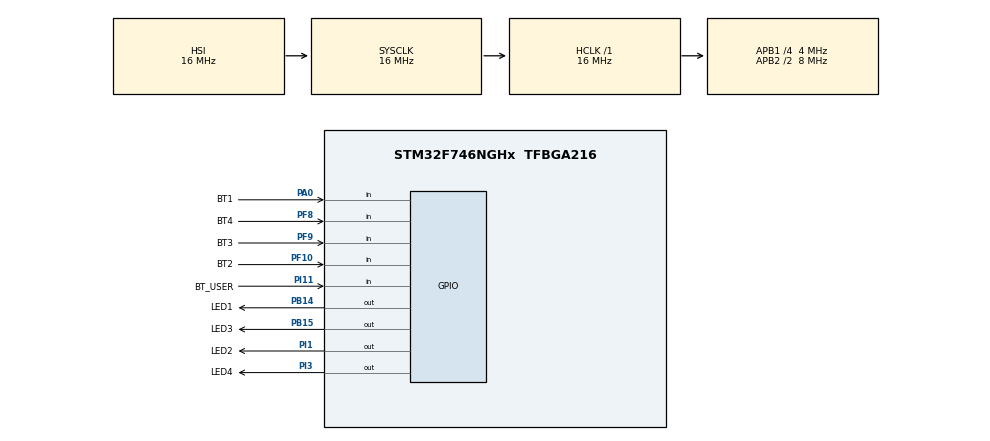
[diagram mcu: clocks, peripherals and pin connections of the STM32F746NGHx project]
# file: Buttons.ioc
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Mcu.Family=STM32F7
Mcu.Name=STM32F746NGHx
Mcu.Package=TFBGA216
NVIC.PriorityGroup=NVIC_PRIORITYGROUP_4
PA0/WKUP.GPIO_Label=BT1
PA0/WKUP.GPIO_PuPd=GPIO_PULLUP
PA0/WKUP.Signal=GPIO_Input
PB14.GPIO_Label=LED1
PB14.PinState=GPIO_PIN_SET
PB14.Signal=GPIO_Output
PB15.GPIO_Label=LED3
PB15.PinState=GPIO_PIN_SET
PB15.Signal=GPIO_Output
PF10.GPIO_Label=BT2
PF10.GPIO_PuPd=GPIO_PULLUP
PF10.Signal=GPIO_Input
PF8.GPIO_Label=BT4
PF8.GPIO_PuPd=GPIO_PULLUP
PF8.Signal=GPIO_Input
PF9.GPIO_Label=BT3
PF9.GPIO_PuPd=GPIO_PULLUP
PF9.Signal=GPIO_Input
PH0/OSC_IN.Mode=HSE-External-Oscillator
PH0/OSC_IN.Signal=RCC_OSC_IN
PH1/OSC_OUT.Mode=HSE-External-Oscillator
PH1/OSC_OUT.Signal=RCC_OSC_OUT
PI1.GPIO_Label=LED2
PI1.PinState=GPIO_PIN_SET
PI1.Signal=GPIO_Output
PI11.GPIO_Label=BT_USER
PI11.Signal=GPIO_Input
PI3.GPIO_Label=LED4
PI3.PinState=GPIO_PIN_SET
PI3.Signal=GPIO_Output
ProjectManager.HeapSize=0x200
ProjectManager.StackSize=0x400
ProjectManager.TargetToolchain=STM32CubeIDE
RCC.AHBFreq_Value=16000000
RCC.APB1CLKDivider=RCC_HCLK_DIV4
RCC.APB1Freq_Value=4000000
RCC.APB1TimFreq_Value=8000000
RCC.APB2CLKDivider=RCC_HCLK_DIV2
RCC.APB2Freq_Value=8000000
RCC.APB2TimFreq_Value=16000000
RCC.CortexFreq_Value=16000000
RCC.HCLKFreq_Value=16000000
RCC.HSE_VALUE=25000000
RCC.HSI_VALUE=16000000
RCC.LSE_VALUE=32768
RCC.PLLM=12
RCC.PLLSourceVirtual=RCC_PLLSOURCE_HSE
RCC.SYSCLKFreq_VALUE=16000000
RCC.USBFreq_Value=200000000
RCC.VCOOutputFreq_Value=400000000
VP_CRC_VS_CRC.Mode=CRC_Activate
VP_DMA2D_VS_DMA2D.Mode=DMA2D_Activate
board=STM32F746G-DISCO

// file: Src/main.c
/* USER CODE BEGIN Header */
/**
  ******************************************************************************
  * @file           : main.c
  * @brief          : Main program body
  ******************************************************************************
  * @attention
  *
  * Copyright (c) 2023 STMicroelectronics.
  * All rights reserved.
  *
  * This software is licensed under terms that can be found in the LICENSE file
  * in the root directory of this software component.
  * If no LICENSE file comes with this software, it is provided AS-IS.
  *
  ******************************************************************************
  */
/* USER CODE END Header */
#include "main.h"

/* USER CODE BEGIN Includes */
#include <stdbool.h>
#include "buttons.h"
/* USER CODE END Includes */

CRC_HandleTypeDef hcrc;

DMA2D_HandleTypeDef hdma2d;

void SystemClock_Config(void);
static void MX_GPIO_Init(void);
static void MX_CRC_Init(void);
static void MX_DMA2D_Init(void);

int main(void)
{

  /* MCU Configuration--------------------------------------------------------*/

  /* Reset of all peripherals, Initializes the Flash interface and the Systick. */
  HAL_Init();

  /* Configure the system clock */
  SystemClock_Config();

  /* Initialize all configured peripherals */
  MX_GPIO_Init();
  MX_CRC_Init();
  MX_DMA2D_Init();
  /* USER CODE BEGIN 2 */
  bool enableMultipleButtonPresses = false;
  /* USER CODE END 2 */

  /* Infinite loop */
  /* USER CODE BEGIN WHILE */
  while (true)
  {
    switch (getPressedButtonCode(enableMultipleButtonPresses))
    {
    case BT_1:
      HAL_GPIO_TogglePin(LED1_GPIO_Port, LED1_Pin);
      enableMultipleButtonPresses = true;
      break;
    case BT_2:
      HAL_GPIO_TogglePin(LED2_GPIO_Port, LED2_Pin);
      enableMultipleButtonPresses = false;
      break;
    case BT_3:
      HAL_GPIO_TogglePin(LED3_GPIO_Port, LED3_Pin);
      break;
    case BT_4:
    case BT_USER:
      HAL_GPIO_TogglePin(LED4_GPIO_Port, LED4_Pin);
      break;
    case BT_NONE:
      break;
    default:
      Error_Handler();
    }
    /* USER CODE END WHILE */

  }
}

void SystemClock_Config(void)
{
  RCC_OscInitTypeDef RCC_OscInitStruct = {0};
  RCC_ClkInitTypeDef RCC_ClkInitStruct = {0};

  /** Configure the main internal regulator output voltage
  */
  __HAL_RCC_PWR_CLK_ENABLE();
  __HAL_PWR_VOLTAGESCALING_CONFIG(PWR_REGULATOR_VOLTAGE_SCALE3);

  /** Initializes the RCC Oscillators according to the specified parameters
  * in the RCC_OscInitTypeDef structure.
  */
  RCC_OscInitStruct.OscillatorType = RCC_OSCILLATORTYPE_HSI;
  RCC_OscInitStruct.HSIState = RCC_HSI_ON;
  RCC_OscInitStruct.HSICalibrationValue = RCC_HSICALIBRATION_DEFAULT;
  RCC_OscInitStruct.PLL.PLLState = RCC_PLL_NONE;
  if (HAL_RCC_OscConfig(&RCC_OscInitStruct) != HAL_OK)
  {
    Error_Handler();
  }

  /** Initializes the CPU, AHB and APB buses clocks
  */
  RCC_ClkInitStruct.ClockType = RCC_CLOCKTYPE_HCLK|RCC_CLOCKTYPE_SYSCLK
                              |RCC_CLOCKTYPE_PCLK1|RCC_CLOCKTYPE_PCLK2;
  RCC_ClkInitStruct.SYSCLKSource = RCC_SYSCLKSOURCE_HSI;
  RCC_ClkInitStruct.AHBCLKDivider = RCC_SYSCLK_DIV1;
  RCC_ClkInitStruct.APB1CLKDivider = RCC_HCLK_DIV4;
  RCC_ClkInitStruct.APB2CLKDivider = RCC_HCLK_DIV2;

  if (HAL_RCC_ClockConfig(&RCC_ClkInitStruct, FLASH_LATENCY_0) != HAL_OK)
  {
    Error_Handler();
  }
}

static void MX_CRC_Init(void)
{

  hcrc.Instance = CRC;
  hcrc.Init.DefaultPolynomialUse = DEFAULT_POLYNOMIAL_ENABLE;
  hcrc.Init.DefaultInitValueUse = DEFAULT_INIT_VALUE_ENABLE;
  hcrc.Init.InputDataInversionMode = CRC_INPUTDATA_INVERSION_NONE;
  hcrc.Init.OutputDataInversionMode = CRC_OUTPUTDATA_INVERSION_DISABLE;
  hcrc.InputDataFormat = CRC_INPUTDATA_FORMAT_BYTES;
  if (HAL_CRC_Init(&hcrc) != HAL_OK)
  {
    Error_Handler();
  }

}

static void MX_DMA2D_Init(void)
{

  hdma2d.Instance = DMA2D;
  hdma2d.Init.Mode = DMA2D_M2M;
  hdma2d.Init.ColorMode = DMA2D_OUTPUT_ARGB8888;
  hdma2d.Init.OutputOffset = 0;
  hdma2d.LayerCfg[1].InputOffset = 0;
  hdma2d.LayerCfg[1].InputColorMode = DMA2D_INPUT_ARGB8888;
  hdma2d.LayerCfg[1].AlphaMode = DMA2D_NO_MODIF_ALPHA;
  hdma2d.LayerCfg[1].InputAlpha = 0;
  if (HAL_DMA2D_Init(&hdma2d) != HAL_OK)
  {
    Error_Handler();
  }
  if (HAL_DMA2D_ConfigLayer(&hdma2d, 1) != HAL_OK)
  {
    Error_Handler();
  }

}

static void MX_GPIO_Init(void)
{
  GPIO_InitTypeDef GPIO_InitStruct = {0};

  /* GPIO Ports Clock Enable */
  __HAL_RCC_GPIOI_CLK_ENABLE();
  __HAL_RCC_GPIOH_CLK_ENABLE();
  __HAL_RCC_GPIOF_CLK_ENABLE();
  __HAL_RCC_GPIOA_CLK_ENABLE();
  __HAL_RCC_GPIOB_CLK_ENABLE();

  /*Configure GPIO pin Output Level */
  HAL_GPIO_WritePin(GPIOI, LED4_Pin|LED2_Pin, GPIO_PIN_SET);

  /*Configure GPIO pin Output Level */
  HAL_GPIO_WritePin(GPIOB, LED1_Pin|LED3_Pin, GPIO_PIN_SET);

  /*Configure GPIO pins : LED4_Pin LED2_Pin */
  GPIO_InitStruct.Pin = LED4_Pin|LED2_Pin;
  GPIO_InitStruct.Mode = GPIO_MODE_OUTPUT_PP;
  GPIO_InitStruct.Pull = GPIO_NOPULL;
  GPIO_InitStruct.Speed = GPIO_SPEED_FREQ_LOW;
  HAL_GPIO_Init(GPIOI, &GPIO_InitStruct);

  /*Configure GPIO pin : BT_USER_Pin */
  GPIO_InitStruct.Pin = BT_USER_Pin;
  GPIO_InitStruct.Mode = GPIO_MODE_INPUT;
  GPIO_InitStruct.Pull = GPIO_NOPULL;
  HAL_GPIO_Init(BT_USER_GPIO_Port, &GPIO_InitStruct);

  /*Configure GPIO pins : BT2_Pin BT3_Pin BT4_Pin */
  GPIO_InitStruct.Pin = BT2_Pin|BT3_Pin|BT4_Pin;
  GPIO_InitStruct.Mode = GPIO_MODE_INPUT;
  GPIO_InitStruct.Pull = GPIO_PULLUP;
  HAL_GPIO_Init(GPIOF, &GPIO_InitStruct);

  /*Configure GPIO pin : BT1_Pin */
  GPIO_InitStruct.Pin = BT1_Pin;
  GPIO_InitStruct.Mode = GPIO_MODE_INPUT;
  GPIO_InitStruct.Pull = GPIO_PULLUP;
  HAL_GPIO_Init(BT1_GPIO_Port, &GPIO_InitStruct);

  /*Configure GPIO pins : LED1_Pin LED3_Pin */
  GPIO_InitStruct.Pin = LED1_Pin|LED3_Pin;
  GPIO_InitStruct.Mode = GPIO_MODE_OUTPUT_PP;
  GPIO_InitStruct.Pull = GPIO_NOPULL;
  GPIO_InitStruct.Speed = GPIO_SPEED_FREQ_LOW;
  HAL_GPIO_Init(GPIOB, &GPIO_InitStruct);

}

void Error_Handler(void)
{
  __disable_irq();
  while (1)
  {
  }
}
